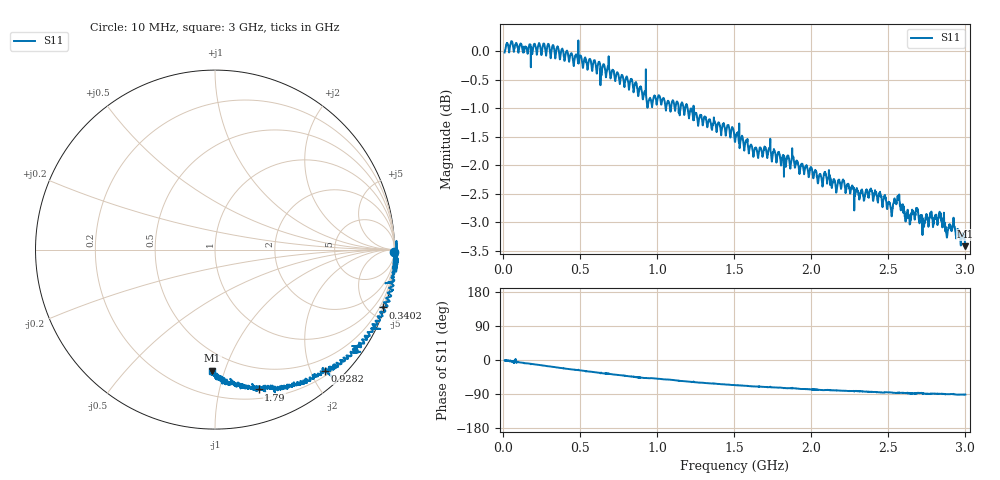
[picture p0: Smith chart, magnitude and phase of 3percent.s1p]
# HZ S RI R 50
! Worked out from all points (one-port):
!   2020 points, 10 MHz to 3 GHz, reference 50 ohm
!   lowest |S11| = -3.4 dB at 3 GHz (marker M1), VSWR 5.15, Z = 18.3 - j45.4 ohm
!   |S11| at or under -10 dB: nowhere
!   S11 on the Smith chart (normalised r, x): 10 MHz: open; 340.2 MHz: 0.21, -5.96; 928.2 MHz: 0.27, -2.23; 1.79 GHz: 0.28, -1.32; 3 GHz: 0.37, -0.91
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1e7  0.9968 -0.0155
5.887072e7  1.015 -0.0844
8.848934e7  1.008 -0.1168
9.737493e7  0.9956 -0.0932
1.965973e8  0.9897 -0.1943
3.402476e8  0.9344 -0.3223
3.846755e8  0.9337 -0.3711
4.913026e8  0.872 -0.4431
6.438385e8  0.7915 -0.5548
7.578702e8  0.7153 -0.6026
9.281772e8  0.6133 -0.6765
9.963e8  0.5882 -0.6778
1.132546e9  0.5286 -0.7294
1.259906e9  0.4478 -0.7489
1.50574e9  0.3336 -0.7627
1.628658e9  0.2815 -0.7653
1.790079e9  0.2426 -0.7791
1.878935e9  0.2146 -0.7799
2.068494e9  0.1463 -0.7565
2.25361e9  0.1064 -0.7435
2.518697e9  0.0535 -0.7205
2.561644e9  0.0486 -0.7438
2.626805e9  0.0248 -0.7179
2.660866e9  0.0222 -0.7237
2.703813e9  0.0373 -0.7079
2.754165e9  0.00799 -0.7115
2.837097e9  0.0105 -0.7174
3e9  -0.0147 -0.6747
